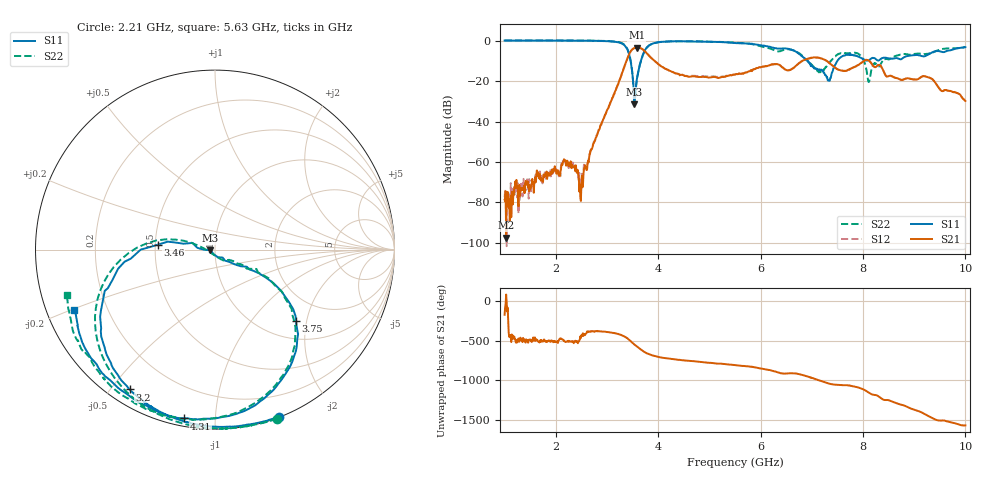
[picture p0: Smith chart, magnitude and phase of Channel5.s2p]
!Agilent Technologies,N5227A,US51270477,A.10.00.00
!File generated by LCAF-GAM-UPV software
!josevmart@iteam.upv.es
!S2P File: Measurements: S11, S21, S12, S22:
# Hz S  dB  R 50
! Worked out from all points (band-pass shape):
!   901 points, 1 GHz to 10 GHz, reference 50 ohm
!   highest |S21| = -3.44 dB at 3.58 GHz (marker M1); lowest = -97.4 dB at 1.03 GHz (marker M2)
!   |S21| within 3 dB of the highest: 3.438 GHz to 3.783 GHz (344.6 MHz wide, 9.54 % of centre)
!   lowest |S11| = -31.5 dB at 3.53 GHz (marker M3), VSWR 1.05, Z = 47.4 - j0.34 ohm
!   |S11| at or under -10 dB: 3.461 GHz to 3.663 GHz (201.7 MHz wide, 5.66 % of centre); 6.908 GHz to 7.502 GHz (593.6 MHz wide, 8.24 % of centre)
!   |S22| runs from -30.9 to 0.0 dB; largest |S21 - S12| = 0.04
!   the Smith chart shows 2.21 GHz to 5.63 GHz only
!   S11 on the Smith chart (normalised r, x): 2.21 GHz: 0.01, -1.46; 3.2 GHz: 0.06, -0.56; 3.46 GHz: 0.51, +0.03; 3.75 GHz: 1.39, -1.73; 4.31 GHz: 0.04, -0.83; 5.63 GHz: 0.08, -0.20
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1e9  0.00 -30.3  -78.61 -171.8  -77.45 -178.8  0.01 -30.9
1.03e9  0.01 -31.2  -97.39 83.3  -91.24 -80.6  0.01 -31.7
2.21e9  -0.03 -68.9  -60.25 -150.6  -59.84 -147.2  0.03 -70.0
2.5e9  -0.07 -78.9  -71.23 -70.5  -72.50 -111.1  -0.00 -81.4
3.2e9  -0.79 -121.4  -22.46 -52.0  -22.73 -50.6  -0.64 -122.9
3.46e9  -9.87 175.1  -5.49 -144.1  -5.52 -141.8  -9.59 171.2
3.53e9  -31.50 -172.3  -3.77 173.6  -3.75 176.6  -28.92 -162.6
3.58e9  -19.49 -40.3  -3.44 147.8  -3.44 148.1  -20.18 -35.6
3.75e9  -4.43 -41.4  -5.53 71.2  -5.47 71.8  -4.55 -41.9
4e9  -0.82 -78.7  -11.60 15.2  -11.60 15.6  -0.88 -80.0
4.31e9  -0.39 -100.3  -15.86 -15.5  -15.91 -15.0  -0.34 -102.2
5.5e9  -1.20 -151.6  -16.85 -87.7  -16.69 -88.6  -1.08 -156.9
5.63e9  -1.37 -156.9  -16.38 -97.6  -16.45 -97.2  -1.26 -162.8
6.65e9  -4.93 146.0  -13.39 169.3  -13.44 169.3  -4.91 147.2
7e9  -12.71 124.2  -8.49 110.1  -8.54 112.8  -11.92 131.0
7.33e9  -19.71 167.6  -10.83 39.4  -10.86 41.1  -11.07 -179.7
7.56e9  -8.37 -178.4  -14.74 20.5  -14.64 20.7  -6.34 155.0
7.86e9  -7.41 132.2  -12.83 -2.6  -12.72 -3.4  -6.04 107.9
8.12e9  -9.59 116.3  -10.06 -79.0  -10.11 -80.7  -20.35 102.2
8.5e9  -8.81 75.7  -17.60 -171.1  -17.57 -172.7  -9.38 86.3
9.52e9  -5.41 -14.3  -24.55 -68.9  -24.54 -69.5  -4.38 -8.8
1e10  -3.29 -46.6  -29.84 -130.2  -29.80 -128.3  -3.18 -54.7
